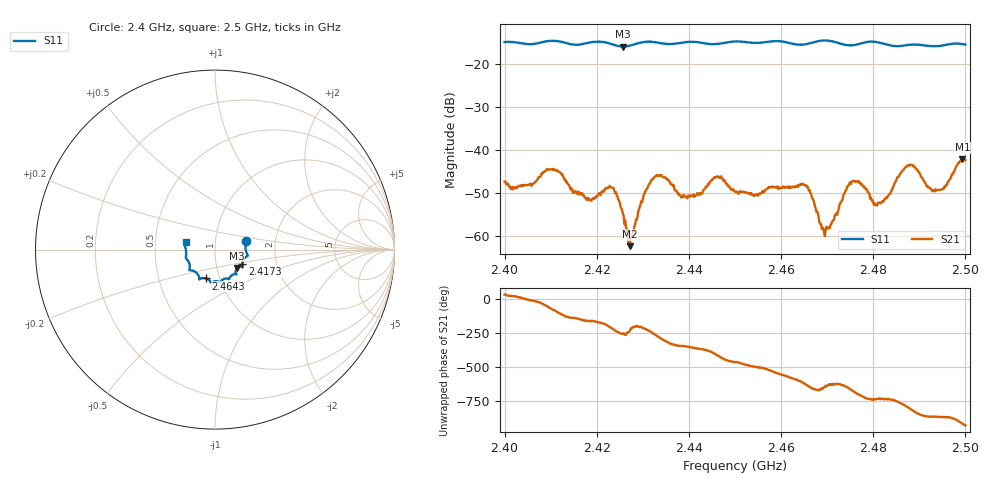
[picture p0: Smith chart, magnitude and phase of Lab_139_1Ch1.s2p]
# Hz S RI R 50
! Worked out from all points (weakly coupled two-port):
!   601 points, 2.4 GHz to 2.5 GHz, reference 50 ohm
!   highest |S21| = -42.17 dB at 2.4993 GHz (marker M1); lowest = -62.3 dB at 2.4272 GHz (marker M2)
!   lowest |S11| = -15.9 dB at 2.4257 GHz (marker M3), VSWR 1.38, Z = 62.4 - j13.1 ohm
!   |S11| at or under -10 dB: start of sweep to end of sweep
!   S12 and S22 are empty: the file has one direction only
!   S11 on the Smith chart (normalised r, x): 2.4 GHz: 1.41, +0.15; 2.4173 GHz: 1.34, -0.23; 2.4643 GHz: 0.86, -0.28; 2.5 GHz: 0.72, +0.06
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2.4e9  0.1731 0.0498  0.00371 0.0022  0 0  0 0
2.4105e9  0.1837 -0.0335  0.000954 -0.0058  0 0  0 0
2.416667e9  0.1527 -0.0748  -0.00276 -0.00129  0 0  0 0
2.417333e9  0.1522 -0.0821  -0.0027 -0.000802  0 0  0 0
2.423167e9  0.1437 -0.0935  -0.00299 0.00213  0 0  0 0
2.425667e9  0.1223 -0.1025  -0.00038 0.00178  0 0  0 0
2.427167e9  0.1159 -0.1158  -0.000451 0.000618  0 0  0 0
2.430667e9  0.1189 -0.1376  -0.00249 0.00232  0 0  0 0
2.433333e9  0.1128 -0.1366  0.000797 0.00495  0 0  0 0
2.438667e9  0.0814 -0.1582  0.00277 0.000587  0 0  0 0
2.446e9  0.0476 -0.1645  0.00296 -0.00393  0 0  0 0
2.45e9  0.0297 -0.181  -0.000887 -0.00316  0 0  0 0
2.464333e9  -0.0501 -0.1606  -0.0014 0.00369  0 0  0 0
2.466667e9  -0.0763 -0.16  0.0014 0.00249  0 0  0 0
2.469333e9  -0.0877 -0.1668  0.000404 0.00103  0 0  0 0
2.475333e9  -0.11 -0.1237  0.00292 0.00316  0 0  0 0
2.4805e9  -0.1427 -0.1118  0.00218 -0.0007  0 0  0 0
2.483333e9  -0.1407 -0.0895  0.00285 -0.000851  0 0  0 0
2.487667e9  -0.1587 -0.0527  0.000987 -0.00647  0 0  0 0
2.493333e9  -0.161 -0.00961  -0.00279 -0.0018  0 0  0 0
2.499333e9  -0.167 0.0377  -0.0074 0.00241  0 0  0 0
2.5e9  -0.1635 0.0419  -0.00653 0.00398  0 0  0 0
